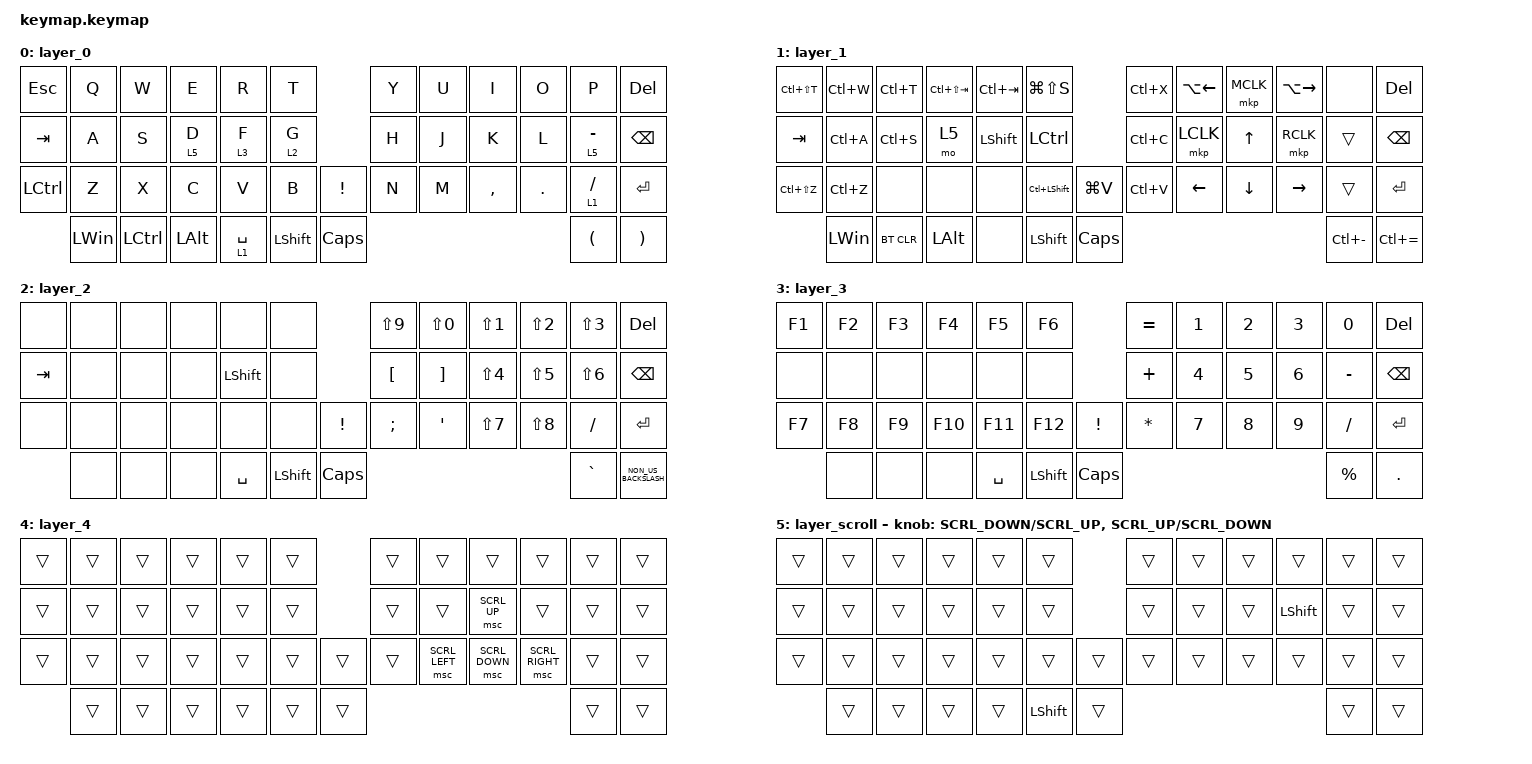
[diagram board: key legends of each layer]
//#define ZMK_POINTING_DEFAULT_MOVE_VAL 100 // マウス移動速度

#include <behaviors.dtsi>
#include <dt-bindings/zmk/bt.h>
#include <dt-bindings/zmk/keys.h>
#include <dt-bindings/zmk/pointing.h>

/ {
    behaviors {
        mouse_scrl: mouse_wheel_scrl {
            compatible = "zmk,behavior-sensor-rotate-var";
            #sensor-binding-cells = <2>;
            bindings = <&msc>, <&msc>;

            tap-ms = <10>;
        };
    };

    keymap {
        compatible = "zmk,keymap";

        layer_0 {
            bindings = <
&kp ESCAPE  &kp Q         &kp W      &kp E         &kp R        &kp T                            &kp Y  &kp U  &kp I      &kp O       &kp P                 &kp DELETE
&kp TAB     &kp A         &kp S      &lt 5 D       &lt 3 F      &lt 2 G                          &kp H  &kp J  &kp K      &kp L       &lt 5 MINUS           &kp BACKSPACE
&kp LCTRL   &kp Z         &kp X      &kp C         &kp V        &kp B           &kp EXCLAMATION  &kp N  &kp M  &kp COMMA  &kp PERIOD  &lt 1 SLASH           &kp ENTER
            &kp LEFT_WIN  &kp LCTRL  &kp LEFT_ALT  &lt 1 SPACE  &kp LEFT_SHIFT  &kp CAPS                                              &kp LEFT_PARENTHESIS  &kp RIGHT_PARENTHESIS
            >;
        };

        layer_1 {
            bindings = <
&kp LC(LS(T))  &kp LC(W)     &kp LC(T)   &kp LC(LS(TAB))  &kp LC(TAB)     &kp LG(LS(S))                     &kp LC(X)  &kp LA(LEFT)    &mkp MCLK       &kp LA(RIGHT)  &none          &kp DELETE
&kp TAB        &kp LC(A)     &kp LC(S)   &mo 5            &kp LEFT_SHIFT  &kp LCTRL                         &kp LC(C)  &mkp LCLK       &kp UP_ARROW    &mkp RCLK      &trans         &kp BACKSPACE
&kp LC(LS(Z))  &kp LC(Z)     &none       &none            &none           &kp LC(LEFT_SHIFT)  &kp LG(V)     &kp LC(V)  &kp LEFT_ARROW  &kp DOWN_ARROW  &kp RIGHT      &trans         &kp ENTER
               &kp LEFT_WIN  &bt BT_CLR  &kp LEFT_ALT     &none           &kp LEFT_SHIFT      &kp CAPSLOCK                                                            &kp LC(MINUS)  &kp LC(EQUAL)
            >;
        };

        layer_2 {
            bindings = <
&none    &none  &none  &none  &none           &none                            &kp LS(NUMBER_9)  &kp LS(NUMBER_0)   &kp LS(NUMBER_1)  &kp LS(NUMBER_2)  &kp LS(NUMBER_3)  &kp DELETE
&kp TAB  &none  &none  &none  &kp LEFT_SHIFT  &none                            &kp LEFT_BRACKET  &kp RIGHT_BRACKET  &kp LS(NUMBER_4)  &kp LS(N5)        &kp LS(NUMBER_6)  &kp BACKSPACE
&none    &none  &none  &none  &none           &none           &kp EXCLAMATION  &kp SEMICOLON     &kp SQT            &kp LS(N7)        &kp LS(N8)        &kp SLASH         &kp ENTER
         &none  &none  &none  &kp SPACE       &kp LEFT_SHIFT  &kp CAPS                                                                                  &kp GRAVE         &kp NON_US_BACKSLASH
            >;
        };

        layer_3 {
            bindings = <
&kp F1  &kp F2  &kp F3  &kp F4   &kp F5     &kp F6                           &kp EQUAL     &kp NUMBER_1  &kp NUMBER_2  &kp NUMBER_3  &kp N0       &kp DEL
&none   &none   &none   &none    &none      &none                            &kp PLUS      &kp NUMBER_4  &kp NUMBER_5  &kp NUMBER_6  &kp MINUS    &kp BACKSPACE
&kp F7  &kp F8  &kp F9  &kp F10  &kp F11    &kp F12         &kp EXCLAMATION  &kp ASTERISK  &kp NUMBER_7  &kp NUMBER_8  &kp NUMBER_9  &kp SLASH    &kp ENTER
        &none   &none   &none    &kp SPACE  &kp LEFT_SHIFT  &kp CAPSLOCK                                                             &kp PERCENT  &kp PERIOD
            >;
        };

        layer_4 {
            bindings = <
&trans  &trans  &trans  &trans  &trans  &trans          &trans  &trans          &trans          &trans           &trans  &trans
&trans  &trans  &trans  &trans  &trans  &trans          &trans  &trans          &msc SCRL_UP    &trans           &trans  &trans
&trans  &trans  &trans  &trans  &trans  &trans  &trans  &trans  &msc SCRL_LEFT  &msc SCRL_DOWN  &msc SCRL_RIGHT  &trans  &trans
        &trans  &trans  &trans  &trans  &trans  &trans                                                           &trans  &trans
            >;
        };

        layer_scroll {
            bindings = <
&trans  &trans  &trans  &trans  &trans  &trans                  &trans  &trans  &trans  &trans          &trans  &trans
&trans  &trans  &trans  &trans  &trans  &trans                  &trans  &trans  &trans  &kp LEFT_SHIFT  &trans  &trans
&trans  &trans  &trans  &trans  &trans  &trans          &trans  &trans  &trans  &trans  &trans          &trans  &trans
        &trans  &trans  &trans  &trans  &kp LEFT_SHIFT  &trans                                          &trans  &trans
            >;

            sensor-bindings =
                <&mouse_scrl SCRL_DOWN SCRL_UP>,
                <&mouse_scrl SCRL_UP SCRL_DOWN>;
        };
    };
};
